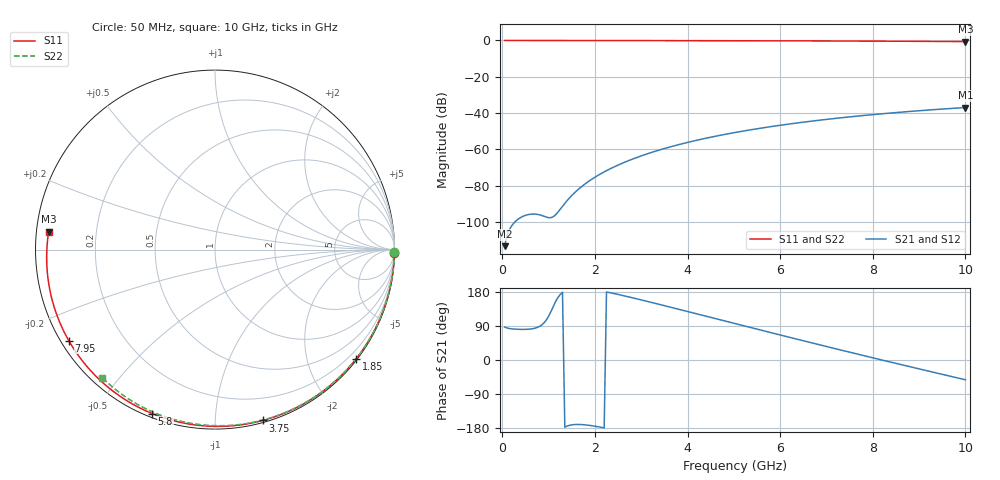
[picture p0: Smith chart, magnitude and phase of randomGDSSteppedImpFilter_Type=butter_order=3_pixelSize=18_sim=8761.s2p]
! freq	dB(S11)	phase(S11)	dB(S12)	phase(S12)
!  dB(S21)	phase(S21)	dB(S22)	phase(S22)
!S-par simulation data
#  GHz  S  DB  R 50
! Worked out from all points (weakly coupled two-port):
!   200 points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, 50 MHz to 10 GHz, reference 50 ohm
!   highest |S21| = -36.98 dB at 10 GHz (marker M1); lowest = -113.4 dB at 50 MHz (marker M2)
!   lowest |S11| = -0.6 dB at 10 GHz (marker M3), VSWR 28.47, Z = 1.76 + j2.67 ohm
!   |S11| at or under -10 dB: nowhere
!   |S22| runs from -0.4 to 0.0 dB; largest |S21 - S12| = 0
!   S11 on the Smith chart (normalised r, x): 50 MHz: open; 1.85 GHz: 0.03, -2.92; 3.75 GHz: 0.02, -1.32; 5.8 GHz: 0.02, -0.69; 7.95 GHz: 0.02, -0.29; 10 GHz: 0.04, +0.05
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0.05  -0.00 -1.0  -113.39 86.9  -113.39 86.9  -0.00 -0.8
0.45  -0.01 -9.4  -96.89 80.7  -96.89 80.7  -0.01 -6.8
0.85  -0.02 -17.6  -96.45 92.4  -96.45 92.4  -0.02 -12.9
1.3  -0.03 -26.7  -91.38 178.6  -91.38 178.6  -0.02 -19.6
1.7  -0.04 -34.8  -80.81 -170.3  -80.81 -170.3  -0.03 -25.5
1.75  -0.05 -35.8  -79.79 -170.7  -79.79 -170.7  -0.03 -26.2
1.85  -0.05 -37.8  -77.91 -172.0  -77.91 -172.0  -0.04 -27.7
2.15  -0.06 -43.7  -73.14 -178.0  -73.14 -178.0  -0.04 -32.1
2.5  -0.06 -50.6  -68.69 173.0  -68.69 173.0  -0.05 -37.1
2.9  -0.08 -58.3  -64.55 161.6  -64.55 161.6  -0.06 -42.9
3.4  -0.09 -67.8  -60.32 146.5  -60.32 146.5  -0.07 -49.9
3.75  -0.10 -74.3  -57.81 135.7  -57.81 135.7  -0.07 -54.8
4.4  -0.12 -86.2  -53.87 115.5  -53.87 115.5  -0.09 -63.6
5.05  -0.15 -97.8  -50.62 95.3  -50.62 95.3  -0.11 -72.2
5.8  -0.19 -111.0  -47.49 72.1  -47.49 72.1  -0.14 -81.9
6.7  -0.25 -126.5  -44.40 44.7  -44.40 44.7  -0.18 -93.1
7.35  -0.30 -137.6  -42.52 25.1  -42.52 25.1  -0.22 -100.9
7.95  -0.36 -148.1  -40.99 7.3  -40.99 7.3  -0.26 -108.0
8.35  -0.40 -155.1  -40.07 -4.5  -40.07 -4.5  -0.29 -112.7
9.2  -0.50 -170.6  -38.35 -29.2  -38.35 -29.2  -0.36 -122.4
9.6  -0.55 -178.3  -37.63 -40.7  -37.63 -40.7  -0.40 -126.9
10  -0.61 173.9  -36.98 -52.2  -36.98 -52.2  -0.44 -131.4
